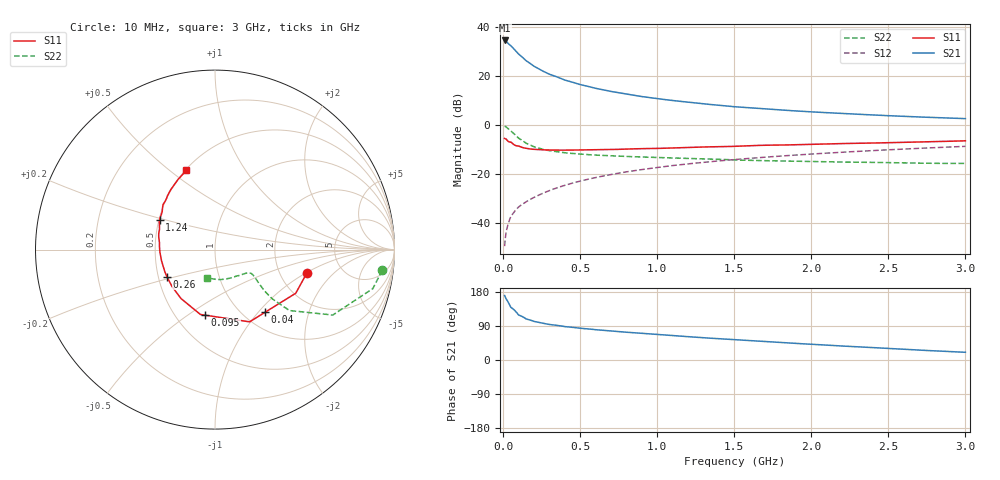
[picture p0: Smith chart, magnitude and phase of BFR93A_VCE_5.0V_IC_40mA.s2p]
! Infineon Technologies  Discrete & RF Semiconductors
! BFR93A
! VCE =  5.0 V,  IC =  40 mA
! Common Emitter S-Parameters:  Nov 2015
# GHz  S  MA  R  50
!  f  S11  S21  S12  S22
! GHz  MAG  ANG  MAG  ANG  MAG  ANG  MAG  ANG
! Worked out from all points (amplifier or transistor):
!   180 points, 10 MHz to 3 GHz, reference 50 ohm
!   highest |S21| = 34.5 dB at 10 MHz (marker M1)
!   |S21| within 3 dB of that: start of sweep to 63.59 MHz
!   unconditionally stable (mu >= 1): 314 MHz to 2.787 GHz
!   at 160 MHz: K = 0.83, MSG = 28.4 dB, |S12| = -31.1 dB
!   at 1.22 GHz: K = 1.08, MAG = 10.8 dB, |S12| = -15.8 dB
!   at 3 GHz: K = 0.98, MSG = 5.7 dB, |S12| = -8.8 dB
!   S11 on the Smith chart (normalised r, x): 10 MHz: 2.82, -1.03; 40 MHz: 1.25, -1.09; 95 MHz: 0.69, -0.59; 260 MHz: 0.56, -0.18; 1.24 GHz: 0.50, +0.19; 3 GHz: 0.51, +0.58
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0.01  0.528 -14.4  53.18 170.0  0.0033 83.9  0.9383 -7.1
0.02  0.5113 -28.4  51.12 161.1  0.0065 77.7  0.906 -13.9
0.04  0.4468 -51.4  44.07 147.5  0.0109 70.7  0.7957 -23.4
0.05  0.4463 -64.4  41.7 139.2  0.0132 69.0  0.7505 -29.1
0.095  0.3694 -98.4  29.32 121.8  0.02 65.1  0.5565 -37.9
0.1  0.3704 -102.7  28.18 119.0  0.0208 64.8  0.5361 -39.3
0.15  0.3319 -124.9  20.41 108.3  0.0267 65.6  0.42 -40.7
0.2  0.3156 -139.4  15.86 101.9  0.0327 67.8  0.3573 -39.8
0.24  0.309 -147.4  13.48 98.3  0.0376 68.8  0.3272 -38.5
0.26  0.3075 -150.8  12.49 96.6  0.0401 69.3  0.3149 -37.9
0.3  0.3056 -155.9  10.87 93.8  0.0451 70.4  0.296 -36.7
0.4  0.3043 -167.7  8.248 88.2  0.0579 71.7  0.2671 -34.5
0.52  0.3072 -177.1  6.449 83.1  0.0732 71.9  0.2497 -33.6
0.6  0.3099 177.7  5.593 80.0  0.0835 71.7  0.2404 -33.4
0.7  0.3117 173.0  4.823 76.5  0.0963 71.2  0.2327 -34.0
0.9  0.3264 163.8  3.788 70.3  0.1216 69.6  0.2195 -36.5
1.02  0.3305 159.3  3.369 66.8  0.1367 68.3  0.2142 -38.4
1.24  0.349 152.2  2.818 60.5  0.1637 65.9  0.2031 -43.3
1.52  0.3652 143.6  2.325 53.0  0.1971 62.7  0.1909 -50.3
2.02  0.4006 131.2  1.828 41.1  0.2548 56.8  0.1773 -65.4
2.52  0.4336 120.1  1.529 30.1  0.3109 50.6  0.1682 -83.2
3  0.4714 109.7  1.341 20.4  0.3631 44.5  0.1629 -105.2
